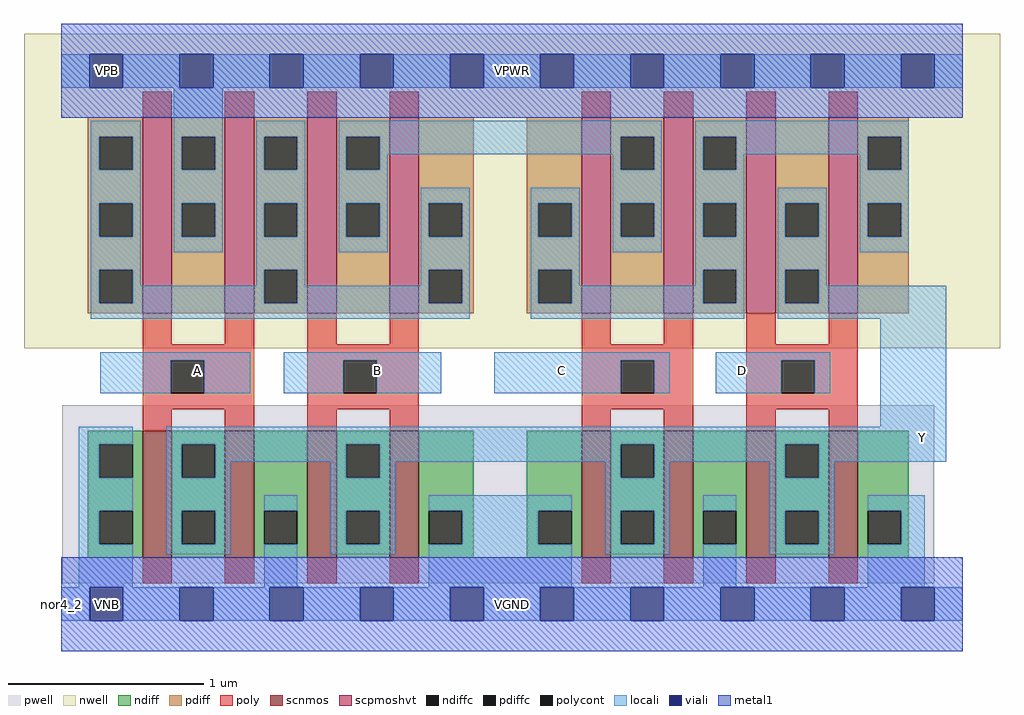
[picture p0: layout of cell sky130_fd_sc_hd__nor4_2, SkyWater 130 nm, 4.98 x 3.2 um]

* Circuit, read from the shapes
.subckt sky130_fd_sc_hd__nor4_2 A B C D VGND VNB VPB VPWR Y
XM1 Y A VGND VNB sky130_fd_pr__nfet_01v8 w=0.65 l=0.15 m=2
XM2 Y B VGND VNB sky130_fd_pr__nfet_01v8 w=0.65 l=0.15 m=2
XM3 Y C VGND VNB sky130_fd_pr__nfet_01v8 w=0.65 l=0.15 m=2
XM4 Y D VGND VNB sky130_fd_pr__nfet_01v8 w=0.65 l=0.15 m=2
XM5 VPWR A n1 VPB sky130_fd_pr__pfet_01v8_hvt w=1 l=0.15 m=2
XM6 n2 B n1 VPB sky130_fd_pr__pfet_01v8_hvt w=1 l=0.15 m=2
XM7 n2 C n3 VPB sky130_fd_pr__pfet_01v8_hvt w=1 l=0.15 m=2
XM8 Y D n3 VPB sky130_fd_pr__pfet_01v8_hvt w=1 l=0.15 m=2
.ends

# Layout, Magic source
magic
tech sky130A
magscale 1 2
<< nwell >>
rect -38 261 958 582
<< pwell >>
rect 1 21 891 203
rect 30 -17 64 21
<< scnmos >>
rect 83 47 113 177
rect 167 47 197 177
rect 251 47 281 177
rect 335 47 365 177
rect 531 47 561 177
rect 615 47 645 177
rect 699 47 729 177
rect 783 47 813 177
<< scpmoshvt >>
rect 83 297 113 497
rect 167 297 197 497
rect 251 297 281 497
rect 335 297 365 497
rect 531 297 561 497
rect 615 297 645 497
rect 699 297 729 497
rect 783 297 813 497
<< ndiff >>
rect 27 163 83 177
rect 27 129 39 163
rect 73 129 83 163
rect 27 95 83 129
rect 27 61 39 95
rect 73 61 83 95
rect 27 47 83 61
rect 113 163 167 177
rect 113 129 123 163
rect 157 129 167 163
rect 113 95 167 129
rect 113 61 123 95
rect 157 61 167 95
rect 113 47 167 61
rect 197 95 251 177
rect 197 61 207 95
rect 241 61 251 95
rect 197 47 251 61
rect 281 163 335 177
rect 281 129 291 163
rect 325 129 335 163
rect 281 95 335 129
rect 281 61 291 95
rect 325 61 335 95
rect 281 47 335 61
rect 365 95 421 177
rect 365 61 375 95
rect 409 61 421 95
rect 365 47 421 61
rect 475 95 531 177
rect 475 61 487 95
rect 521 61 531 95
rect 475 47 531 61
rect 561 163 615 177
rect 561 129 571 163
rect 605 129 615 163
rect 561 95 615 129
rect 561 61 571 95
rect 605 61 615 95
rect 561 47 615 61
rect 645 95 699 177
rect 645 61 655 95
rect 689 61 699 95
rect 645 47 699 61
rect 729 163 783 177
rect 729 129 739 163
rect 773 129 783 163
rect 729 95 783 129
rect 729 61 739 95
rect 773 61 783 95
rect 729 47 783 61
rect 813 95 865 177
rect 813 61 823 95
rect 857 61 865 95
rect 813 47 865 61
<< pdiff >>
rect 27 477 83 497
rect 27 443 39 477
rect 73 443 83 477
rect 27 409 83 443
rect 27 375 39 409
rect 73 375 83 409
rect 27 341 83 375
rect 27 307 39 341
rect 73 307 83 341
rect 27 297 83 307
rect 113 477 167 497
rect 113 443 123 477
rect 157 443 167 477
rect 113 409 167 443
rect 113 375 123 409
rect 157 375 167 409
rect 113 297 167 375
rect 197 477 251 497
rect 197 443 207 477
rect 241 443 251 477
rect 197 409 251 443
rect 197 375 207 409
rect 241 375 251 409
rect 197 341 251 375
rect 197 307 207 341
rect 241 307 251 341
rect 197 297 251 307
rect 281 477 335 497
rect 281 443 291 477
rect 325 443 335 477
rect 281 409 335 443
rect 281 375 291 409
rect 325 375 335 409
rect 281 297 335 375
rect 365 409 421 497
rect 365 375 375 409
rect 409 375 421 409
rect 365 341 421 375
rect 365 307 375 341
rect 409 307 421 341
rect 365 297 421 307
rect 475 409 531 497
rect 475 375 487 409
rect 521 375 531 409
rect 475 341 531 375
rect 475 307 487 341
rect 521 307 531 341
rect 475 297 531 307
rect 561 477 615 497
rect 561 443 571 477
rect 605 443 615 477
rect 561 409 615 443
rect 561 375 571 409
rect 605 375 615 409
rect 561 297 615 375
rect 645 477 699 497
rect 645 443 655 477
rect 689 443 699 477
rect 645 409 699 443
rect 645 375 655 409
rect 689 375 699 409
rect 645 341 699 375
rect 645 307 655 341
rect 689 307 699 341
rect 645 297 699 307
rect 729 409 783 497
rect 729 375 739 409
rect 773 375 783 409
rect 729 341 783 375
rect 729 307 739 341
rect 773 307 783 341
rect 729 297 783 307
rect 813 477 865 497
rect 813 443 823 477
rect 857 443 865 477
rect 813 409 865 443
rect 813 375 823 409
rect 857 375 865 409
rect 813 297 865 375
<< ndiffc >>
rect 39 129 73 163
rect 39 61 73 95
rect 123 129 157 163
rect 123 61 157 95
rect 207 61 241 95
rect 291 129 325 163
rect 291 61 325 95
rect 375 61 409 95
rect 487 61 521 95
rect 571 129 605 163
rect 571 61 605 95
rect 655 61 689 95
rect 739 129 773 163
rect 739 61 773 95
rect 823 61 857 95
<< pdiffc >>
rect 39 443 73 477
rect 39 375 73 409
rect 39 307 73 341
rect 123 443 157 477
rect 123 375 157 409
rect 207 443 241 477
rect 207 375 241 409
rect 207 307 241 341
rect 291 443 325 477
rect 291 375 325 409
rect 375 375 409 409
rect 375 307 409 341
rect 487 375 521 409
rect 487 307 521 341
rect 571 443 605 477
rect 571 375 605 409
rect 655 443 689 477
rect 655 375 689 409
rect 655 307 689 341
rect 739 375 773 409
rect 739 307 773 341
rect 823 443 857 477
rect 823 375 857 409
<< poly >>
rect 83 497 113 523
rect 167 497 197 523
rect 251 497 281 523
rect 335 497 365 523
rect 531 497 561 523
rect 615 497 645 523
rect 699 497 729 523
rect 783 497 813 523
rect 83 265 113 297
rect 167 265 197 297
rect 83 249 197 265
rect 83 215 112 249
rect 146 215 197 249
rect 83 199 197 215
rect 83 177 113 199
rect 167 177 197 199
rect 251 265 281 297
rect 335 265 365 297
rect 251 249 365 265
rect 251 215 288 249
rect 322 215 365 249
rect 251 199 365 215
rect 251 177 281 199
rect 335 177 365 199
rect 531 265 561 297
rect 615 265 645 297
rect 531 249 645 265
rect 531 215 571 249
rect 605 215 645 249
rect 531 199 645 215
rect 531 177 561 199
rect 615 177 645 199
rect 699 265 729 297
rect 783 265 813 297
rect 699 249 813 265
rect 699 215 735 249
rect 769 215 813 249
rect 699 199 813 215
rect 699 177 729 199
rect 783 177 813 199
rect 83 21 113 47
rect 167 21 197 47
rect 251 21 281 47
rect 335 21 365 47
rect 531 21 561 47
rect 615 21 645 47
rect 699 21 729 47
rect 783 21 813 47
<< polycont >>
rect 112 215 146 249
rect 288 215 322 249
rect 571 215 605 249
rect 735 215 769 249
<< locali >>
rect 0 527 29 561
rect 63 527 121 561
rect 155 527 213 561
rect 247 527 305 561
rect 339 527 397 561
rect 431 527 489 561
rect 523 527 581 561
rect 615 527 673 561
rect 707 527 765 561
rect 799 527 857 561
rect 891 527 920 561
rect 30 477 81 493
rect 30 443 39 477
rect 73 443 81 477
rect 30 409 81 443
rect 30 375 39 409
rect 73 375 81 409
rect 30 341 81 375
rect 115 477 165 527
rect 115 443 123 477
rect 157 443 165 477
rect 115 409 165 443
rect 115 375 123 409
rect 157 375 165 409
rect 115 359 165 375
rect 199 477 249 493
rect 199 443 207 477
rect 241 443 249 477
rect 199 409 249 443
rect 199 375 207 409
rect 241 375 249 409
rect 30 307 39 341
rect 73 325 81 341
rect 199 341 249 375
rect 283 477 613 493
rect 283 443 291 477
rect 325 459 571 477
rect 325 443 333 459
rect 283 409 333 443
rect 563 443 571 459
rect 605 443 613 477
rect 283 375 291 409
rect 325 375 333 409
rect 283 359 333 375
rect 367 409 417 425
rect 367 375 375 409
rect 409 375 417 409
rect 199 325 207 341
rect 73 307 207 325
rect 241 325 249 341
rect 367 341 417 375
rect 367 325 375 341
rect 241 307 375 325
rect 409 307 417 341
rect 30 291 417 307
rect 479 409 529 425
rect 479 375 487 409
rect 521 375 529 409
rect 479 341 529 375
rect 563 409 613 443
rect 563 375 571 409
rect 605 375 613 409
rect 563 359 613 375
rect 647 477 865 493
rect 647 443 655 477
rect 689 459 823 477
rect 689 443 697 459
rect 647 409 697 443
rect 815 443 823 459
rect 857 443 865 477
rect 647 375 655 409
rect 689 375 697 409
rect 479 307 487 341
rect 521 325 529 341
rect 647 341 697 375
rect 647 325 655 341
rect 521 307 655 325
rect 689 307 697 341
rect 479 291 697 307
rect 731 409 781 425
rect 731 375 739 409
rect 773 375 781 409
rect 731 341 781 375
rect 815 409 865 443
rect 815 375 823 409
rect 857 375 865 409
rect 815 359 865 375
rect 731 307 739 341
rect 773 325 781 341
rect 773 307 903 325
rect 731 291 903 307
rect 40 249 193 257
rect 40 215 112 249
rect 146 215 193 249
rect 227 249 388 257
rect 227 215 288 249
rect 322 215 388 249
rect 442 249 621 257
rect 442 215 571 249
rect 605 215 621 249
rect 668 249 785 257
rect 668 215 735 249
rect 769 215 785 249
rect 836 181 903 291
rect 18 163 73 181
rect 18 129 39 163
rect 18 95 73 129
rect 18 61 39 95
rect 18 17 73 61
rect 107 163 903 181
rect 107 129 123 163
rect 157 145 291 163
rect 157 129 173 145
rect 107 95 173 129
rect 275 129 291 145
rect 325 145 571 163
rect 325 129 341 145
rect 107 61 123 95
rect 157 61 173 95
rect 107 51 173 61
rect 207 95 241 111
rect 207 17 241 61
rect 275 95 341 129
rect 555 129 571 145
rect 605 145 739 163
rect 605 129 621 145
rect 275 61 291 95
rect 325 61 341 95
rect 275 51 341 61
rect 375 95 521 111
rect 409 61 487 95
rect 375 17 521 61
rect 555 95 621 129
rect 723 129 739 145
rect 773 145 903 163
rect 773 129 789 145
rect 555 61 571 95
rect 605 61 621 95
rect 555 51 621 61
rect 655 95 689 111
rect 655 17 689 61
rect 723 95 789 129
rect 723 61 739 95
rect 773 61 789 95
rect 723 51 789 61
rect 823 95 881 111
rect 857 61 881 95
rect 823 17 881 61
rect 0 -17 29 17
rect 63 -17 121 17
rect 155 -17 213 17
rect 247 -17 305 17
rect 339 -17 397 17
rect 431 -17 489 17
rect 523 -17 581 17
rect 615 -17 673 17
rect 707 -17 765 17
rect 799 -17 857 17
rect 891 -17 920 17
<< viali >>
rect 29 527 63 561
rect 121 527 155 561
rect 213 527 247 561
rect 305 527 339 561
rect 397 527 431 561
rect 489 527 523 561
rect 581 527 615 561
rect 673 527 707 561
rect 765 527 799 561
rect 857 527 891 561
rect 29 -17 63 17
rect 121 -17 155 17
rect 213 -17 247 17
rect 305 -17 339 17
rect 397 -17 431 17
rect 489 -17 523 17
rect 581 -17 615 17
rect 673 -17 707 17
rect 765 -17 799 17
rect 857 -17 891 17
<< metal1 >>
rect 0 561 920 592
rect 0 527 29 561
rect 63 527 121 561
rect 155 527 213 561
rect 247 527 305 561
rect 339 527 397 561
rect 431 527 489 561
rect 523 527 581 561
rect 615 527 673 561
rect 707 527 765 561
rect 799 527 857 561
rect 891 527 920 561
rect 0 496 920 527
rect 0 17 920 48
rect 0 -17 29 17
rect 63 -17 121 17
rect 155 -17 213 17
rect 247 -17 305 17
rect 339 -17 397 17
rect 431 -17 489 17
rect 523 -17 581 17
rect 615 -17 673 17
rect 707 -17 765 17
rect 799 -17 857 17
rect 891 -17 920 17
rect 0 -48 920 -17
<< labels >>
flabel locali s 494 221 528 255 0 FreeSans 400 0 0 0 C
port 3 nsew signal input
flabel locali s 678 221 712 255 0 FreeSans 400 0 0 0 D
port 4 nsew signal input
flabel locali s 862 153 896 187 0 FreeSans 400 0 0 0 Y
port 9 nsew signal output
flabel locali s 122 221 156 255 0 FreeSans 400 0 0 0 A
port 1 nsew signal input
flabel locali s 306 221 340 255 0 FreeSans 400 0 0 0 B
port 2 nsew signal input
flabel pwell s 30 -17 64 17 0 FreeSans 200 0 0 0 VNB
port 6 nsew ground bidirectional
flabel nwell s 30 527 64 561 0 FreeSans 200 0 0 0 VPB
port 7 nsew power bidirectional
flabel metal1 s 30 -17 64 17 0 FreeSans 200 0 0 0 VGND
port 5 nsew ground bidirectional abutment
flabel metal1 s 30 527 64 561 0 FreeSans 200 0 0 0 VPWR
port 8 nsew power bidirectional abutment
rlabel comment s 0 0 0 0 4 nor4_2
rlabel metal1 s 0 -48 920 48 1 VGND
port 5 nsew ground bidirectional abutment
rlabel metal1 s 0 496 920 592 1 VPWR
port 8 nsew power bidirectional abutment
<< properties >>
string FIXED_BBOX 0 0 920 544
string GDS_END 1135798
string GDS_FILE $PDKPATH/libs.ref/sky130_fd_sc_hd/gds/sky130_fd_sc_hd.gds
string GDS_START 1128148
string LEFclass CORE
string LEFsite unithd
string LEFsymmetry X Y R90
string path 0.000 0.000 4.600 0.000 
<< end >>
